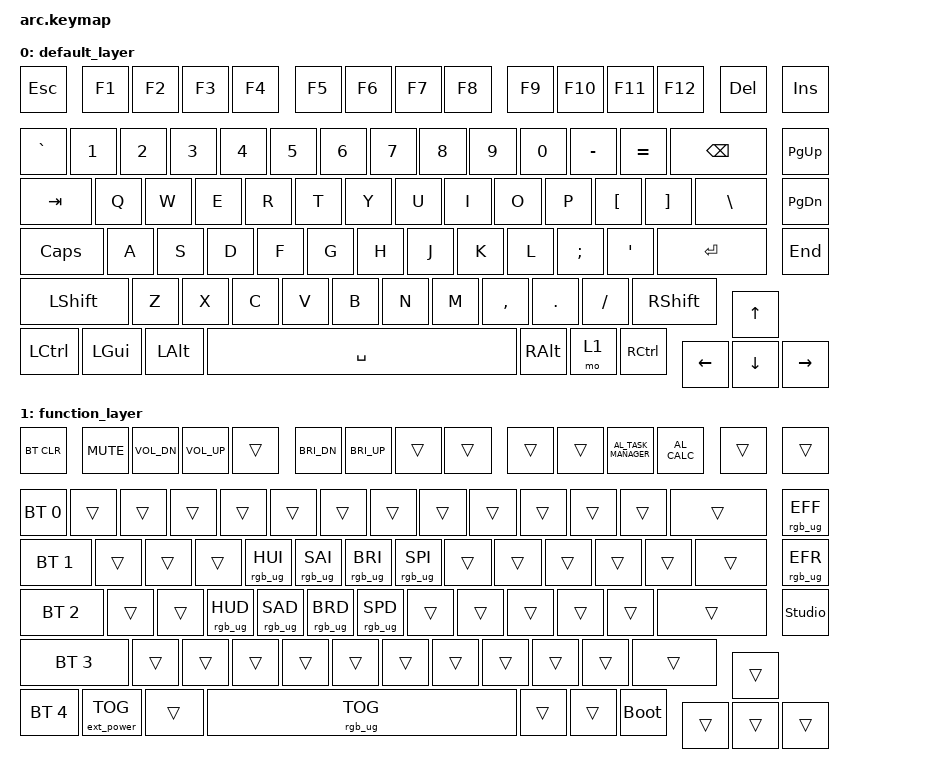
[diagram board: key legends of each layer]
#include <behaviors.dtsi>
#include <dt-bindings/zmk/keys.h>
#include <dt-bindings/zmk/rgb.h>
#include <dt-bindings/zmk/bt.h>
#include <dt-bindings/zmk/ext_power.h>
#include "arc-pinctrl.dtsi"

/ {
    keymap {
        compatible = "zmk,keymap";
        default_layer {
// ---------------------------------------------------------------------------------------------
// |ESC| F1  | F2  | F3  | F4  | F5  | F6  | F7  | F8  | F9  | F10 | F11 | F12 |  DEL  |  INS  |
// | ~ |  1  |  2  |  3  |  4  |  5  |  6  |  7  |  8  |  9  |  0  |  -  |  =  | BSPC  | PG_UP |
// | TAB  |  Q  |  W  |  E  |  R  |  T  |  Y  |  U  |  I  |  O  |  P  |  [  |  ] | "|" | PG_DN |
// | CAPS  |  A  |  S  |  D  |  F  |  G  |  H  |  J  |  K  |  L  |  ;  |  '  |  ENTER  |   END |
// |  SHIFT  |  Z  |  X  |  C  |  V  |  B  |  N  |  M  |  ,  |  .  |  /  |    SHIFT    |  UP   |
// |  CTL  |  WIN  |  ALT  |    SPACE   |  ALT  |  WIN  |  FN |  CTL  | LEFT | DOWN | RIGHT |
// ---------------------------------------------------------------------------------------------
        bindings = <
    &kp ESC  &kp F1 &kp F2 &kp F3 &kp F4 &kp F5 &kp F6 &kp F7 &kp F8 &kp F9 &kp F10 &kp F11 &kp F12 &kp DEL &kp INS
    &kp GRAVE  &kp N1 &kp N2 &kp N3 &kp N4 &kp N5 &kp N6 &kp N7 &kp N8 &kp N9 &kp N0 &kp MINUS &kp EQUAL &kp BSPC &kp PG_UP
    &kp TAB  &kp Q  &kp W  &kp E  &kp R  &kp T  &kp Y  &kp U  &kp I  &kp O  &kp P  &kp LBKT  &kp RBKT  &kp BSLH   &kp PG_DN
    &kp CLCK  &kp A  &kp S  &kp D  &kp F  &kp G  &kp H  &kp J  &kp K  &kp L  &kp SEMI &kp SQT           &kp RET   &kp END
    &kp LSHFT   &kp Z  &kp X  &kp C  &kp V  &kp B  &kp N  &kp M  &kp COMMA &kp DOT &kp FSLH           &kp RSHFT   &kp UP
    &kp LCTRL &kp LGUI &kp LALT             &kp SPACE                     &kp RALT  &mo 1 &kp RCTRL &kp LEFT &kp DOWN &kp RIGHT
        >;
        };

        function_layer {
// ---------------------------------------------------------------------------------------------
// |BTCLR| MUTE  | VDN  | VUP  | F4  | BRD  | BRU  | F7  | F8  | F9  | F10 | TASK | CALC |    |    |
// | BT 1 |    |    |    |    |    |    |    |    |    |    |    |    |   | EFF FOR |
// | BT 2 |    |    |    |  HUEUP  |  SATUP  |  BRIUP  |  SPUP  |    |    |    |    |   |  | EFF REV |
// | BT 3  |    |    |  HUEDN  |  SATDN  |  BRIDN  |  SPDN  |    |    |    |    |    |    |    |
// |  BT 4  |    |    |    |    |    |    |    |    |    |    |        |     |
// |  BT 5  |  EXTPOWER  |    |    TOG RGB   |    |    |  |    |  |  |  |
// ---------------------------------------------------------------------------------------------
        bindings = <
        &bt BT_CLR &kp C_MUTE &kp C_VOL_DN &kp C_VOL_UP &trans &kp C_BRI_DN &kp C_BRI_UP &trans &trans &trans &trans &kp C_AL_TASK_MANAGER &kp C_AL_CALC &trans &trans
        &bt BT_SEL 0 &trans &trans &trans &trans &trans &trans &trans &trans &trans &trans &trans &trans &trans &rgb_ug RGB_EFF 
        &bt BT_SEL 1 &trans &trans &trans &rgb_ug RGB_HUI &rgb_ug RGB_SAI &rgb_ug RGB_BRI &rgb_ug RGB_SPI &trans &trans &trans &trans &trans &trans &rgb_ug RGB_EFR
        &bt BT_SEL 2 &trans &trans &rgb_ug RGB_HUD &rgb_ug RGB_SAD &rgb_ug RGB_BRD &rgb_ug RGB_SPD &trans &trans &trans &trans &trans &trans &studio_unlock 
        &bt BT_SEL 3 &trans &trans &trans &trans &trans &trans &trans &trans &trans &trans &trans &trans
        &bt BT_SEL 4 &ext_power EP_TOG &trans &rgb_ug RGB_TOG &trans &trans &bootloader &trans &trans &trans
        >;
        };
};
};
